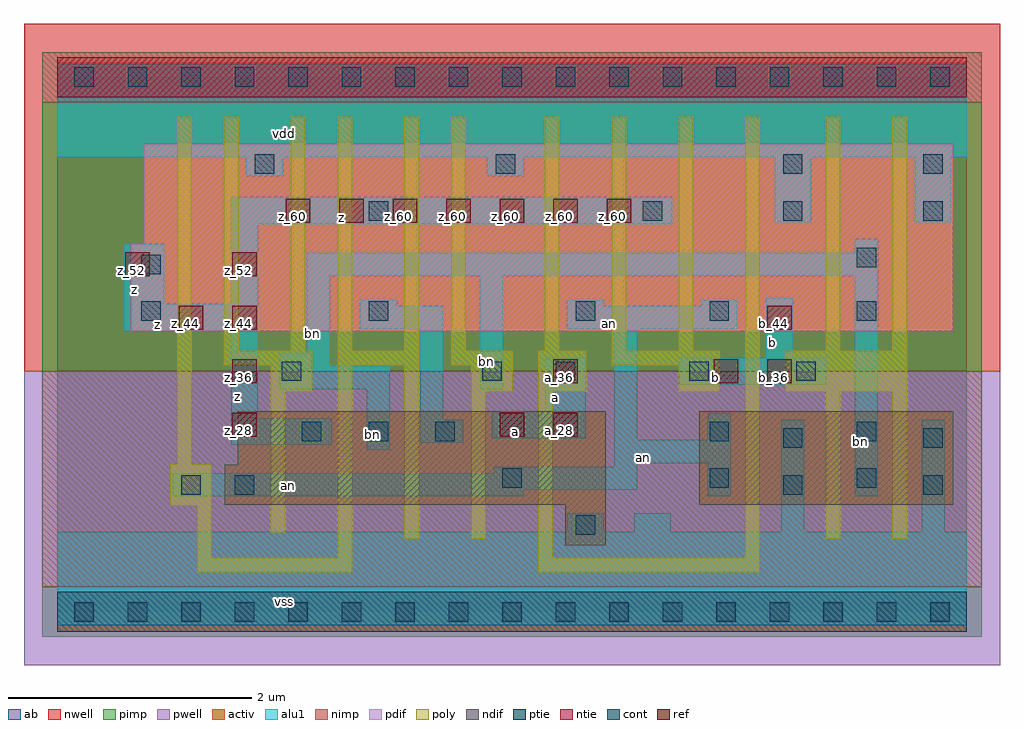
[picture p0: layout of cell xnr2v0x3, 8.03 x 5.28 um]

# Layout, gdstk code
import gdstk
lib = gdstk.Library(unit=1e-6, precision=2.5e-09)
def R(c, l, rs):  # rectangles x0, y0, x1, y1
    for r in rs: c.add(gdstk.rectangle(r[:2], r[2:], *l))
def A(c, l, x, y, w, h, nx, ny, dx, dy):  # array of equal rectangles
    R(c, l, [(x+i*dx, y+j*dy, x+i*dx+w, y+j*dy+h) for i in range(nx) for j in range(ny)])
ndif = (3, 0)
pdif = (4, 0)
ntie = (5, 0)
ptie = (6, 0)
ref = (24, 0)
cont = (25, 0)
pwell = (41, 0)
nwell = (42, 0)
activ = (43, 0)
pimp = (44, 0)
nimp = (45, 0)
poly = (46, 0)
alu1 = (49, 0)
ab = (63, 0)

xnr2v0x3 = lib.new_cell('xnr2v0x3')
R(xnr2v0x3, ndif, [(4.18,0.55,4.51,0.88), (1.375,0.88,4.51,1.21), (5.28,0.88,7.37,1.65), (1.485,1.21,4.51,1.65)])
R(xnr2v0x3, pdif, [(0.605,2.31,7.37,3.025), (0.715,3.025,7.37,3.85)])
R(xnr2v0x3, ntie, [(0,4.235,7.48,4.565)])
R(xnr2v0x3, ptie, [(0,-0.165,7.48,0.165)])
A(xnr2v0x3, ref, 1.44, 1.44, 0.2, 0.2, 1, 4, 0, 0.44)
A(xnr2v0x3, ref, 1.88, 3.2, 0.2, 0.2, 7, 1, 0.44, 0)
R(xnr2v0x3, ref, [(3.64,1.44,3.84,1.64), (4.08,1.44,4.28,1.64), (4.08,1.88,4.28,2.08), (5.4,1.88,5.6,2.08), (5.84,1.88,6.04,2.08), (1,2.32,1.2,2.52), (5.84,2.32,6.04,2.52), (0.56,2.76,0.76,2.96)])
A(xnr2v0x3, cont, 0.14, -0.08, 0.16, 0.16, 17, 2, 0.44, 4.4)
A(xnr2v0x3, cont, 2.01, 1.405, 0.16, 0.16, 3, 1, 0.55, 0)
A(xnr2v0x3, cont, 4.815, 3.22, 0.16, 0.16, 3, 1, 1.155, 0)
R(xnr2v0x3, cont, [(4.265,0.635,4.425,0.795), (1.02,0.965,1.18,1.125), (1.46,0.965,1.62,1.125), (5.97,0.965,6.13,1.125), (7.125,0.965,7.285,1.125), (3.66,1.02,3.82,1.18), (5.365,1.02,5.525,1.18), (6.575,1.02,6.735,1.18), (5.97,1.35,6.13,1.51), (7.125,1.35,7.285,1.51), (5.365,1.405,5.525,1.565), (6.575,1.405,6.735,1.565), (1.845,1.9,2.005,2.06), (3.495,1.9,3.655,2.06), (4.1,1.9,4.26,2.06), (5.2,1.9,5.36,2.06), (6.08,1.9,6.24,2.06), (0.69,2.395,0.85,2.555), (2.56,2.395,2.72,2.555), (4.265,2.395,4.425,2.555), (5.365,2.395,5.525,2.555), (6.575,2.395,6.735,2.555), (0.69,2.78,0.85,2.94), (6.575,2.835,6.735,2.995), (2.56,3.22,2.72,3.38), (1.625,3.605,1.785,3.765), (3.605,3.605,3.765,3.765), (5.97,3.605,6.13,3.765), (7.125,3.605,7.285,3.765)])
R(xnr2v0x3, pwell, [(-0.275,-0.44,7.755,1.98)])
R(xnr2v0x3, nwell, [(-0.275,1.98,7.755,4.84)])
R(xnr2v0x3, activ, [(0,-0.165,7.48,0.165), (4.18,0.55,4.51,0.88), (1.375,0.88,4.51,1.21), (5.28,0.88,7.37,1.65), (1.485,1.21,4.51,1.65), (0.605,2.31,7.37,3.025), (0.715,3.025,7.37,3.85), (0,4.235,7.48,4.565)])
R(xnr2v0x3, pimp, [(-0.125,-0.205,7.605,0.205), (-0.125,1.98,7.605,4.195)])
R(xnr2v0x3, nimp, [(-0.125,0.205,7.605,1.98), (-0.125,4.195,7.605,4.605)])
A(xnr2v0x3, poly, 4.01, 2.15, 0.12, 1.925, 3, 1, 0.55, 0)
R(xnr2v0x3, poly, [(1.15,0.325,2.425,0.445), (3.955,0.325,5.78,0.445), (1.15,0.445,1.27,0.875), (2.305,0.445,2.425,2.03), (3.955,0.445,4.075,1.81), (5.66,0.445,5.78,4.075), (2.855,0.6,2.975,2.03), (3.405,0.6,3.525,1.81), (6.32,0.6,6.44,1.81), (6.87,0.6,6.99,1.81), (1.755,0.655,1.875,1.81), (0.93,0.875,1.27,1.215), (0.985,1.215,1.105,4.075), (1.755,1.81,2.095,2.03), (3.405,1.81,3.745,2.03), (3.955,1.81,4.35,2.15), (5.11,1.81,5.45,2.03), (5.99,1.81,6.99,2.15), (1.37,2.03,2.095,2.15), (2.305,2.03,2.975,2.15), (3.24,2.03,3.745,2.15), (4.56,2.03,5.45,2.15), (1.37,2.15,1.49,4.075), (1.92,2.15,2.04,4.075), (2.305,2.15,2.425,4.075), (2.855,2.15,2.975,4.075), (3.24,2.15,3.36,4.075), (6.32,2.15,6.44,4.075), (6.87,2.15,6.99,4.075)])
R(xnr2v0x3, alu1, [(0,-0.11,7.48,0.66), (4.195,0.66,4.495,0.81), (4.745,0.66,5.045,0.81), (5.955,0.66,6.145,1.58), (7.11,0.66,7.3,1.58), (0.95,0.95,3.835,1.005), (5.35,0.95,5.54,1.225), (6.56,0.95,6.75,2.765), (0.95,1.005,4.77,1.14), (3.59,1.14,4.77,1.195), (4.58,1.195,4.77,1.225), (4.58,1.225,5.54,1.415), (2.545,1.335,2.735,1.83), (1.43,1.375,2.255,1.595), (2.985,1.39,3.34,1.58), (4.58,1.415,4.77,2.325), (5.35,1.415,5.54,1.635), (3.575,1.43,4.345,1.65), (2.985,1.58,3.175,2.325), (1.43,1.595,1.65,2.31), (4.015,1.65,4.345,2.09), (1.83,1.83,2.735,2.02), (3.48,1.83,3.67,2.765), (5.115,1.87,6.325,2.09), (1.83,2.02,2.24,2.13), (5.83,2.09,6.05,2.585), (2.05,2.13,2.24,2.765), (0.55,2.31,1.65,2.53), (2.49,2.325,3.175,2.515), (4.195,2.325,5.595,2.515), (2.49,2.515,2.79,2.57), (4.195,2.515,4.495,2.57), (5.295,2.515,5.595,2.57), (0.55,2.53,0.88,3.025), (1.43,2.53,1.65,3.19), (2.05,2.765,6.75,2.955), (6.56,2.955,6.75,3.065), (1.43,3.19,5.06,3.41), (5.9,3.205,6.2,3.74), (7.055,3.205,7.355,3.74), (1.555,3.59,1.855,3.74), (3.535,3.59,3.835,3.74), (0,3.74,7.48,4.51)])
R(xnr2v0x3, ab, [(0,0,7.48,4.4)])
xnr2v0x3.add(gdstk.Label('vss', (1.87,0.0825), layer=49, texttype=0))
xnr2v0x3.add(gdstk.Label('bn', (6.6075,1.4025), layer=49, texttype=0))
xnr2v0x3.add(gdstk.Label('an', (1.905,1.0375), layer=49, texttype=0))
xnr2v0x3.add(gdstk.Label('an', (4.82,1.2725), layer=49, texttype=0))
xnr2v0x3.add(gdstk.Label('b', (5.4175,1.925), layer=49, texttype=0))
xnr2v0x3.add(gdstk.Label('b', (5.885,2.2125), layer=49, texttype=0))
xnr2v0x3.add(gdstk.Label('a', (3.7675,1.485), layer=49, texttype=0))
xnr2v0x3.add(gdstk.Label('a', (4.0975,1.76), layer=49, texttype=0))
xnr2v0x3.add(gdstk.Label('an', (4.545,2.3725), layer=49, texttype=0))
xnr2v0x3.add(gdstk.Label('bn', (3.5275,2.0625), layer=49, texttype=0))
xnr2v0x3.add(gdstk.Label('bn', (2.5925,1.4575), layer=49, texttype=0))
xnr2v0x3.add(gdstk.Label('bn', (2.0975,2.2875), layer=49, texttype=0))
xnr2v0x3.add(gdstk.Label('z', (1.485,1.7725), layer=49, texttype=0))
xnr2v0x3.add(gdstk.Label('z', (0.825,2.365), layer=49, texttype=0))
xnr2v0x3.add(gdstk.Label('z', (0.6325,2.6525), layer=49, texttype=0))
xnr2v0x3.add(gdstk.Label('z', (2.3375,3.245), layer=49, texttype=0))
xnr2v0x3.add(gdstk.Label('vdd', (1.87,3.9325), layer=49, texttype=0))
xnr2v0x3.add(gdstk.Label('a_28', (4.13,1.49), layer=24, texttype=0))
xnr2v0x3.add(gdstk.Label('a_36', (4.13,1.93), layer=24, texttype=0))
xnr2v0x3.add(gdstk.Label('a_28', (3.69,1.49), layer=24, texttype=0))
xnr2v0x3.add(gdstk.Label('b_36', (5.45,1.93), layer=24, texttype=0))
xnr2v0x3.add(gdstk.Label('b_36', (5.89,1.93), layer=24, texttype=0))
xnr2v0x3.add(gdstk.Label('b_44', (5.89,2.37), layer=24, texttype=0))
xnr2v0x3.add(gdstk.Label('z_28', (1.49,1.49), layer=24, texttype=0))
xnr2v0x3.add(gdstk.Label('z_44', (1.49,2.37), layer=24, texttype=0))
xnr2v0x3.add(gdstk.Label('z_44', (1.05,2.37), layer=24, texttype=0))
xnr2v0x3.add(gdstk.Label('z_52', (0.61,2.81), layer=24, texttype=0))
xnr2v0x3.add(gdstk.Label('z_36', (1.49,1.93), layer=24, texttype=0))
xnr2v0x3.add(gdstk.Label('z_52', (1.49,2.81), layer=24, texttype=0))
xnr2v0x3.add(gdstk.Label('z_60', (1.93,3.25), layer=24, texttype=0))
xnr2v0x3.add(gdstk.Label('z_60', (4.57,3.25), layer=24, texttype=0))
xnr2v0x3.add(gdstk.Label('z_60', (2.37,3.25), layer=24, texttype=0))
xnr2v0x3.add(gdstk.Label('z_60', (2.81,3.25), layer=24, texttype=0))
xnr2v0x3.add(gdstk.Label('z_60', (3.25,3.25), layer=24, texttype=0))
xnr2v0x3.add(gdstk.Label('z_60', (3.69,3.25), layer=24, texttype=0))
xnr2v0x3.add(gdstk.Label('z_60', (4.13,3.25), layer=24, texttype=0))

lib.write_gds('xnr2v0x3.gds')
